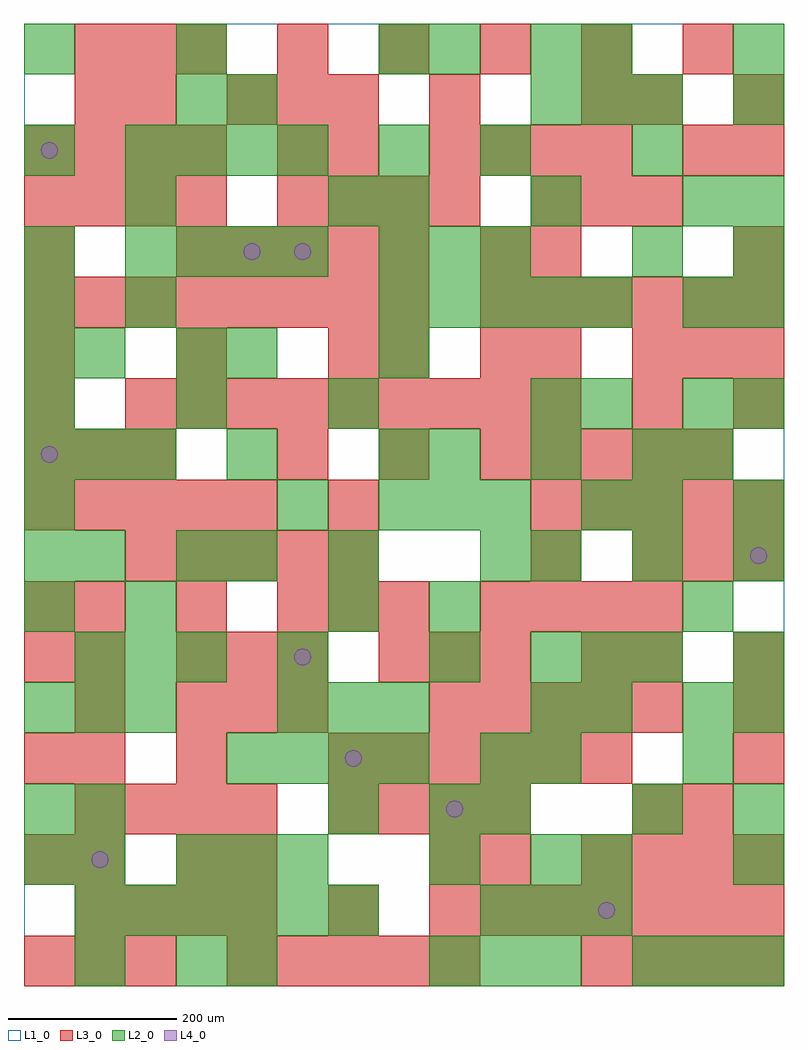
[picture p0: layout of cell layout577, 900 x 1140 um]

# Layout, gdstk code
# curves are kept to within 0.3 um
import gdstk
lib = gdstk.Library(unit=1e-6, precision=1e-09)
def R(c, l, rs):  # rectangles x0, y0, x1, y1
    for r in rs: c.add(gdstk.rectangle(r[:2], r[2:], *l))
def A(c, l, x, y, w, h, nx, ny, dx, dy):  # array of equal rectangles
    R(c, l, [(x+i*dx, y+j*dy, x+i*dx+w, y+j*dy+h) for i in range(nx) for j in range(ny)])
def P(c, l, *ps):  # polygons
    for p in ps: c.add(gdstk.Polygon(p, *l))
L1_0 = (1, 0)
L2_0 = (2, 0)
L3_0 = (3, 0)
L4_0 = (4, 0)

layout577 = lib.new_cell('layout577')
R(layout577, L1_0, [(0,0,900,1140)])
A(layout577, L2_0, 480, 0, 60, 60, 3, 1, 60, 0)
A(layout577, L2_0, 720, 0, 60, 60, 3, 1, 60, 0)
A(layout577, L2_0, 60, 60, 60, 60, 6, 1, 60, 0)
A(layout577, L2_0, 540, 60, 60, 60, 3, 1, 60, 0)
A(layout577, L2_0, 180, 120, 60, 60, 3, 1, 60, 0)
A(layout577, L2_0, 240, 240, 60, 60, 4, 1, 60, 0)
A(layout577, L2_0, 0, 300, 60, 60, 3, 2, 60, 300)
A(layout577, L2_0, 300, 300, 60, 60, 3, 1, 60, 0)
A(layout577, L2_0, 60, 360, 60, 60, 3, 1, 60, 0)
A(layout577, L2_0, 600, 360, 60, 60, 3, 2, 60, 660)
A(layout577, L2_0, 0, 420, 60, 60, 1, 3, 0, 60)
A(layout577, L2_0, 240, 480, 60, 60, 1, 3, 0, 120)
A(layout577, L2_0, 600, 480, 60, 60, 3, 1, 120, 0)
A(layout577, L2_0, 420, 540, 60, 60, 3, 2, 60, 300)
A(layout577, L2_0, 840, 540, 60, 60, 1, 3, 0, 120)
A(layout577, L2_0, 480, 600, 60, 60, 3, 1, 120, 0)
A(layout577, L2_0, 0, 660, 60, 60, 3, 1, 180, 0)
A(layout577, L2_0, 0, 720, 60, 60, 1, 3, 0, 60)
A(layout577, L2_0, 420, 780, 60, 60, 5, 1, 60, 0)
A(layout577, L2_0, 120, 840, 60, 60, 4, 2, 60, 120)
A(layout577, L2_0, 420, 900, 60, 60, 3, 1, 180, 0)
R(layout577, L2_0, [(60,0,120,60), (180,0,240,60), (240,0,300,60), (0,120,60,180), (60,120,120,180), (480,120,540,180), (600,120,660,180), (660,120,720,180), (840,120,900,180), (0,180,60,240), (60,180,120,240), (360,180,420,240), (480,180,540,240), (540,180,600,240), (720,180,780,240), (840,180,900,240), (540,240,600,300), (600,240,660,300), (780,240,840,300), (600,300,660,360), (660,300,720,360), (780,300,840,360), (840,300,900,360), (300,360,360,420), (480,360,540,420), (840,360,900,420), (120,420,180,480), (360,420,420,480), (480,420,540,480), (780,420,840,480), (60,480,120,540), (180,480,240,540), (360,480,420,540), (540,480,600,540), (300,540,360,600), (660,540,720,600), (720,540,780,600), (420,600,480,660), (780,600,840,660), (600,660,660,720), (660,660,720,720), (780,660,840,720), (60,720,120,780), (180,720,240,780), (420,720,480,780), (120,780,180,840), (780,780,840,840), (720,840,780,900), (840,840,900,900), (120,900,180,960), (360,900,420,960), (840,900,900,960), (0,960,60,1020), (420,960,480,1020), (540,960,600,1020), (720,960,780,1020), (180,1020,240,1080), (240,1020,300,1080), (840,1020,900,1080), (0,1080,60,1140), (180,1080,240,1140), (420,1080,480,1140), (480,1080,540,1140), (600,1080,660,1140), (660,1080,720,1140), (840,1080,900,1140)])
A(layout577, L3_0, 0, 0, 60, 60, 3, 2, 60, 600)
A(layout577, L3_0, 240, 0, 60, 60, 5, 1, 60, 0)
A(layout577, L3_0, 660, 0, 60, 60, 4, 2, 60, 120)
A(layout577, L3_0, 60, 60, 60, 60, 4, 2, 60, 120)
A(layout577, L3_0, 480, 60, 60, 60, 7, 1, 60, 0)
A(layout577, L3_0, 0, 120, 60, 60, 1, 3, 0, 120)
A(layout577, L3_0, 360, 180, 60, 60, 4, 1, 60, 0)
A(layout577, L3_0, 60, 240, 60, 60, 1, 3, 0, 60)
A(layout577, L3_0, 360, 240, 60, 60, 6, 1, 60, 0)
A(layout577, L3_0, 840, 240, 60, 60, 1, 3, 0, 60)
A(layout577, L3_0, 180, 300, 60, 60, 3, 2, 60, 60)
A(layout577, L3_0, 480, 300, 60, 60, 5, 1, 60, 0)
A(layout577, L3_0, 420, 360, 60, 60, 3, 1, 60, 0)
A(layout577, L3_0, 60, 420, 60, 60, 3, 1, 120, 0)
A(layout577, L3_0, 540, 420, 60, 60, 4, 1, 60, 0)
A(layout577, L3_0, 120, 480, 60, 60, 5, 1, 60, 0)
A(layout577, L3_0, 720, 480, 60, 60, 3, 2, 60, 240)
A(layout577, L3_0, 0, 540, 60, 60, 5, 1, 60, 0)
A(layout577, L3_0, 600, 540, 60, 60, 5, 1, 60, 0)
A(layout577, L3_0, 300, 600, 60, 60, 3, 1, 120, 0)
A(layout577, L3_0, 600, 600, 60, 60, 4, 1, 60, 0)
A(layout577, L3_0, 120, 660, 60, 60, 9, 1, 60, 0)
A(layout577, L3_0, 0, 720, 60, 60, 3, 1, 180, 0)
A(layout577, L3_0, 0, 780, 60, 60, 8, 1, 60, 0)
A(layout577, L3_0, 540, 780, 60, 60, 6, 1, 60, 0)
A(layout577, L3_0, 180, 840, 60, 60, 5, 1, 60, 0)
A(layout577, L3_0, 0, 900, 60, 60, 4, 2, 60, 60)
A(layout577, L3_0, 300, 900, 60, 60, 4, 1, 60, 0)
A(layout577, L3_0, 600, 900, 60, 60, 3, 1, 60, 0)
A(layout577, L3_0, 480, 960, 60, 60, 4, 1, 60, 0)
A(layout577, L3_0, 240, 1020, 60, 60, 3, 1, 60, 0)
A(layout577, L3_0, 60, 1080, 60, 60, 3, 1, 60, 0)
A(layout577, L3_0, 300, 1080, 60, 60, 5, 1, 120, 0)
R(layout577, L3_0, [(360,60,420,120), (60,120,120,180), (180,120,240,180), (240,120,300,180), (480,120,540,180), (540,120,600,180), (720,180,780,240), (780,180,840,240), (180,240,240,300), (660,360,720,420), (720,360,780,420), (0,420,60,480), (360,420,420,480), (420,420,480,480), (600,480,660,540), (360,540,420,600), (0,660,60,720), (720,660,780,720), (840,660,900,720), (420,720,480,780), (540,720,600,780), (600,720,660,780), (0,840,60,900), (540,840,600,900), (600,840,660,900), (840,840,900,900), (300,960,360,1020), (360,960,420,1020), (780,960,840,1020), (840,960,900,1020), (60,1020,120,1080), (120,1020,180,1080), (480,1020,540,1080), (660,1020,720,1080), (720,1020,780,1080), (840,1020,900,1080)])
P(layout577, L4_0, [(40,630),(39.239,633.827),(37.071,637.071),(33.827,639.239),(30,640),(26.173,639.239),(22.929,637.071),(20.761,633.827),(20,630),(20.761,626.173),(22.929,622.929),(26.173,620.761),(30,620),(33.827,620.761),(37.071,622.929),(39.239,626.173)],
  [(40,990),(39.239,993.827),(37.071,997.071),(33.827,999.239),(30,1000),(26.173,999.239),(22.929,997.071),(20.761,993.827),(20,990),(20.761,986.173),(22.929,982.929),(26.173,980.761),(30,980),(33.827,980.761),(37.071,982.929),(39.239,986.173)],
  [(100,150),(99.239,153.827),(97.071,157.071),(93.827,159.239),(90,160),(86.173,159.239),(82.929,157.071),(80.761,153.827),(80,150),(80.761,146.173),(82.929,142.929),(86.173,140.761),(90,140),(93.827,140.761),(97.071,142.929),(99.239,146.173)],
  [(280,870),(279.239,873.827),(277.071,877.071),(273.827,879.239),(270,880),(266.173,879.239),(262.929,877.071),(260.761,873.827),(260,870),(260.761,866.173),(262.929,862.929),(266.173,860.761),(270,860),(273.827,860.761),(277.071,862.929),(279.239,866.173)],
  [(340,390),(339.239,393.827),(337.071,397.071),(333.827,399.239),(330,400),(326.173,399.239),(322.929,397.071),(320.761,393.827),(320,390),(320.761,386.173),(322.929,382.929),(326.173,380.761),(330,380),(333.827,380.761),(337.071,382.929),(339.239,386.173)],
  [(340,870),(339.239,873.827),(337.071,877.071),(333.827,879.239),(330,880),(326.173,879.239),(322.929,877.071),(320.761,873.827),(320,870),(320.761,866.173),(322.929,862.929),(326.173,860.761),(330,860),(333.827,860.761),(337.071,862.929),(339.239,866.173)],
  [(400,270),(399.239,273.827),(397.071,277.071),(393.827,279.239),(390,280),(386.173,279.239),(382.929,277.071),(380.761,273.827),(380,270),(380.761,266.173),(382.929,262.929),(386.173,260.761),(390,260),(393.827,260.761),(397.071,262.929),(399.239,266.173)],
  [(520,210),(519.239,213.827),(517.071,217.071),(513.827,219.239),(510,220),(506.173,219.239),(502.929,217.071),(500.761,213.827),(500,210),(500.761,206.173),(502.929,202.929),(506.173,200.761),(510,200),(513.827,200.761),(517.071,202.929),(519.239,206.173)],
  [(700,90),(699.239,93.827),(697.071,97.071),(693.827,99.239),(690,100),(686.173,99.239),(682.929,97.071),(680.761,93.827),(680,90),(680.761,86.173),(682.929,82.929),(686.173,80.761),(690,80),(693.827,80.761),(697.071,82.929),(699.239,86.173)],
  [(880,510),(879.239,513.827),(877.071,517.071),(873.827,519.239),(870,520),(866.173,519.239),(862.929,517.071),(860.761,513.827),(860,510),(860.761,506.173),(862.929,502.929),(866.173,500.761),(870,500),(873.827,500.761),(877.071,502.929),(879.239,506.173)])

lib.write_gds('layout577.gds')
